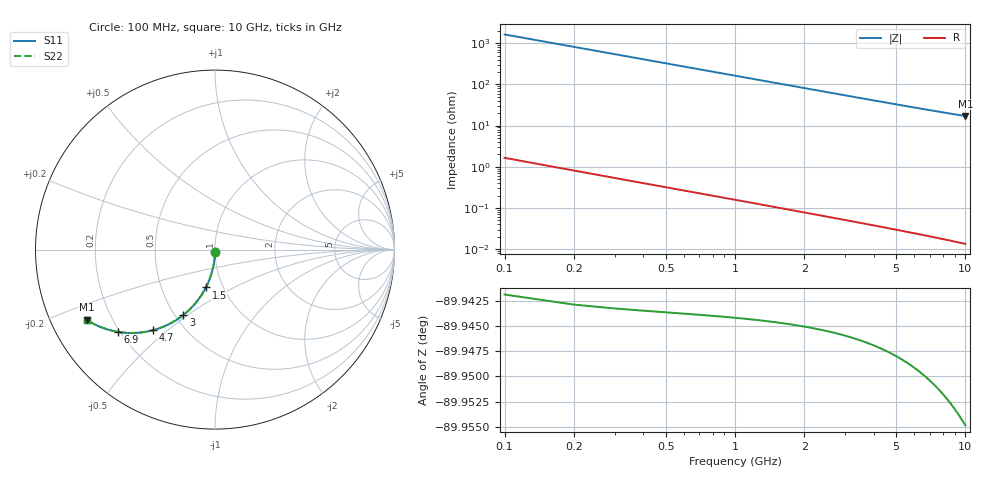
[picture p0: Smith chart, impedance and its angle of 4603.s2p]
# Hz S RI R 50.00
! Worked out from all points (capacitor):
!   100 points, 100 MHz to 10 GHz, reference 50 ohm
!   read as one part in shunt: C = 978 fF near 100 MHz
!   lowest |Z| = 17.1 ohm at 10 GHz (marker M1)
!   S11 on the Smith chart (normalised r, x): 100 MHz: 1.00, -0.03; 1.5 GHz: 0.83, -0.37; 3 GHz: 0.55, -0.48; 4.7 GHz: 0.34, -0.45; 6.9 GHz: 0.19, -0.36; 10 GHz: 0.11, -0.25
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1e8  -0.00014 -0.0148  0.9996 -0.0159  0.9996 -0.0159  -0.00014 -0.0148
2e8  -0.000862 -0.0296  0.9989 -0.0318  0.9989 -0.0318  -0.000862 -0.0296
3e8  -0.00205 -0.0444  0.9977 -0.0477  0.9977 -0.0477  -0.00205 -0.0444
4e8  -0.00371 -0.059  0.9961 -0.0634  0.9961 -0.0634  -0.00371 -0.059
5e8  -0.00583 -0.0736  0.9939 -0.0792  0.9939 -0.0792  -0.00583 -0.0736
6e8  -0.0084 -0.0881  0.9913 -0.0948  0.9913 -0.0948  -0.0084 -0.0881
7e8  -0.0114 -0.1025  0.9883 -0.1102  0.9883 -0.1102  -0.0114 -0.1025
9e8  -0.0188 -0.1308  0.9809 -0.1407  0.9809 -0.1407  -0.0188 -0.1308
1.2e9  -0.033 -0.1719  0.9667 -0.1851  0.9667 -0.1851  -0.033 -0.1719
1.5e9  -0.0506 -0.2109  0.949 -0.2274  0.949 -0.2274  -0.0506 -0.2109
1.8e9  -0.0714 -0.2474  0.9281 -0.2673  0.9281 -0.2673  -0.0714 -0.2474
2.4e9  -0.1206 -0.3122  0.8789 -0.3388  0.8789 -0.3388  -0.1206 -0.3122
3e9  -0.1768 -0.3647  0.8224 -0.398  0.8224 -0.398  -0.1768 -0.3647
3.4e9  -0.2166 -0.3929  0.7824 -0.4307  0.7824 -0.4307  -0.2166 -0.3929
4e9  -0.2776 -0.4253  0.7212 -0.4699  0.7212 -0.4699  -0.2776 -0.4253
4.7e9  -0.3476 -0.4496  0.6507 -0.5023  0.6507 -0.5023  -0.3476 -0.4496
5.1e9  -0.3862 -0.458  0.6119 -0.5152  0.6119 -0.5152  -0.3862 -0.458
5.9e9  -0.4586 -0.4646  0.5389 -0.5312  0.5389 -0.5312  -0.4586 -0.4646
6.7e9  -0.5237 -0.4608  0.4731 -0.5369  0.4731 -0.5369  -0.5237 -0.4608
6.9e9  -0.5387 -0.4586  0.4579 -0.537  0.4579 -0.537  -0.5387 -0.4586
8.4e9  -0.6368 -0.4314  0.3583 -0.528  0.3583 -0.528  -0.6368 -0.4314
1e10  -0.7158 -0.3905  0.2771 -0.507  0.2771 -0.507  -0.7158 -0.3905
